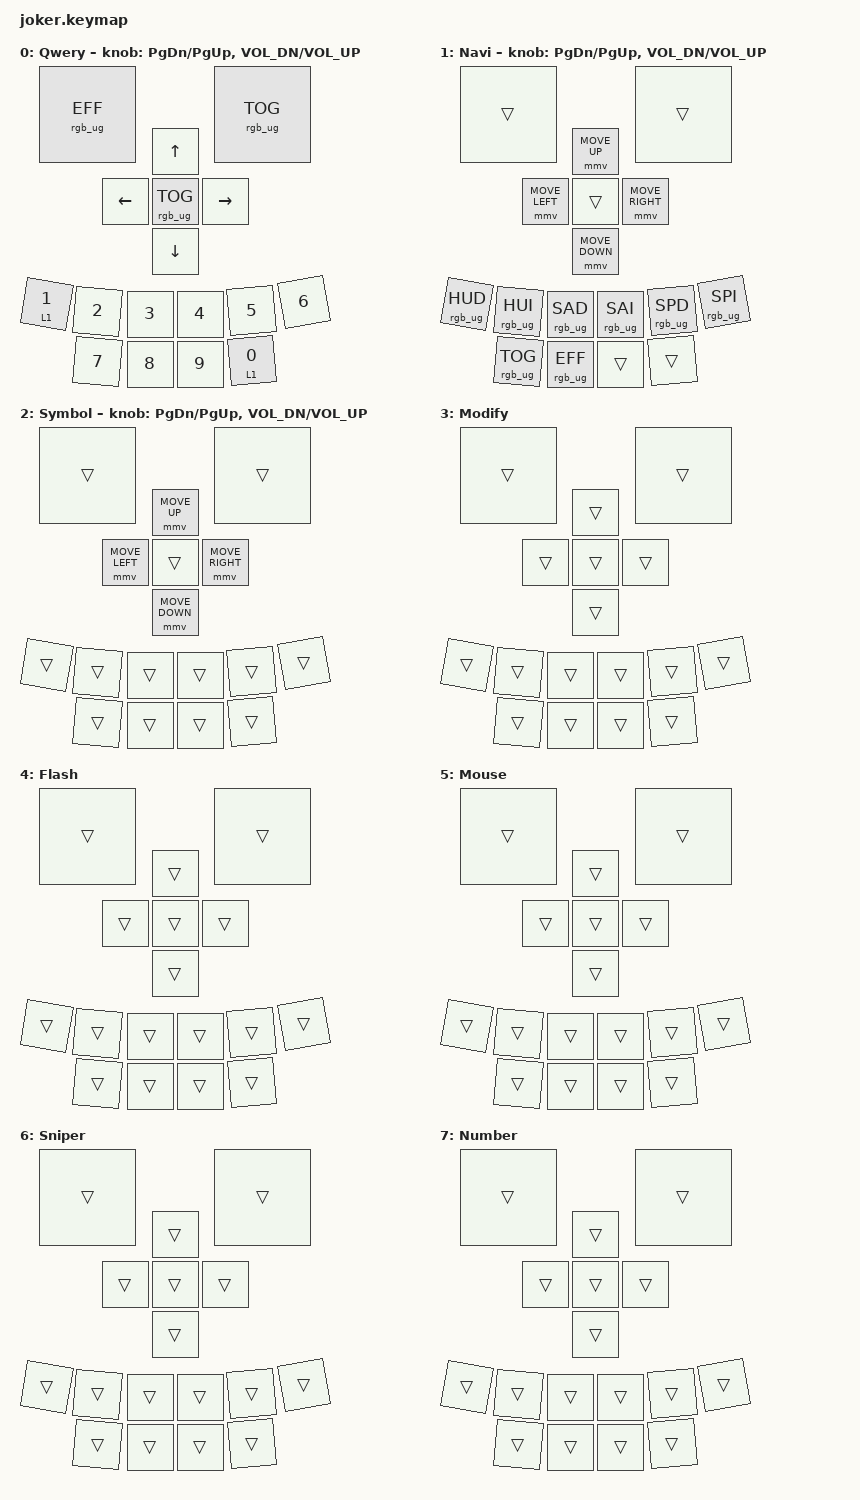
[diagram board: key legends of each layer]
#define ZMK_POINTING_DEFAULT_MOVE_VAL 1200  // 600
#define ZMK_POINTING_DEFAULT_SCRL_VAL 35    // 10

#include <input/processors.dtsi>
#include <zephyr/dt-bindings/input/input-event-codes.h>
#include <behaviors.dtsi>
#include <dt-bindings/zmk/keys.h>
#include <dt-bindings/zmk/pointing.h>
#include <dt-bindings/zmk/rgb.h>

#define SNIPER 6
#define MOUSE 5



&mmv_input_listener { input-processors = <&zip_xy_scaler 2 1>; };

&msc_input_listener { input-processors = <&zip_scroll_scaler 2 1>; };

&msc {
    acceleration-exponent = <1>;      // 0
    time-to-max-speed-ms = <100>;       // 300
    delay-ms = <0>;                   // 0
};

&mmv {
    time-to-max-speed-ms = <500>;
    acceleration-exponent = <1>;
    trigger-period-ms = <16>;
};

/ {
    zip_scroll_scaler: zip_scroll_scaler {
        compatible = "zmk,input-processor-scaler";
        #input-processor-cells = <2>;
        type = <INPUT_EV_REL>;
        codes = <INPUT_REL_WHEEL INPUT_REL_HWHEEL>;
        track-remainders;
    };
};

&mmv_input_listener { input-processors = <&zip_xy_scaler 2 1>; };

&msc_input_listener { input-processors = <&zip_scroll_scaler 2 1>; };

&msc {
    acceleration-exponent = <0>;      // 0
    time-to-max-speed-ms = <0>;       // 300
    delay-ms = <0>;                   // 0
};

&mmv {
    time-to-max-speed-ms = <400>;
    acceleration-exponent = <1>;
};

&trackball_listener {
    scroller {
        layers = <MOUSE>;
        input-processors =
            <&zip_xy_transform INPUT_TRANSFORM_Y_INVERT>,
            <&zip_xy_scaler 1 10>,
            <&zip_xy_to_scroll_mapper>;
    };

    snipe {
        layers = <SNIPER>;
        input-processors = <&zip_xy_scaler 1 3>;
    };
};

/ {
    combos {
        compatible = "zmk,combos";

        combo_esc {
            timeout-ms = <50>;
            key-positions = <0 1>;
            bindings = <&kp ESC>;
        };

        left_bkt {
            bindings = <&kp LEFT_BRACKET>;
            key-positions = <3 4>;
        };

        right_bkt {
            bindings = <&kp RIGHT_BRACKET>;
            key-positions = <7 8>;
        };

        left_brace {
            bindings = <&kp LEFT_BRACE>;
            key-positions = <26 27>;
        };

        right_brace {
            bindings = <&kp RIGHT_BRACE>;
            key-positions = <30 31>;
        };

        less_than {
            bindings = <&kp LEFT_PARENTHESIS>;
            key-positions = <15 16>;
        };

        great_than {
            bindings = <&kp RIGHT_PARENTHESIS>;
            key-positions = <19 20>;
        };

        pipe {
            bindings = <&kp PIPE>;
            key-positions = <5 6>;
        };

        back_slash {
            bindings = <&kp BACKSLASH>;
            key-positions = <17 18>;
        };
    };

    macros {
        dongle_bootload_macro: bootload_macro {
            compatible = "zmk,behavior-macro";
            #binding-cells = <0>;
            bindings = <&bootloader>;
            label = "BOOTLOAD_MACRO";
        };
    };

    behaviors {
        hm: homerow_mods {
            compatible = "zmk,behavior-hold-tap";
            label = "HOMEROW_MODS";
            bindings = <&kp>, <&kp>;

            #binding-cells = <2>;
            tapping-term-ms = <200>;
            quick-tap-ms = <180>;
            flavor = "tap-preferred";
        };

        ltq: ltq {
            compatible = "zmk,behavior-hold-tap";
            label = "LTQ";
            bindings = <&mo>, <&kp>;

            #binding-cells = <2>;
            tapping-term-ms = <200>;
            quick-tap-ms = <180>;
        };

        as: auto_shift {
            compatible = "zmk,behavior-hold-tap";
            label = "AUTO_SHIFT";
            bindings = <&kp>, <&kp>;

            #binding-cells = <2>;
            tapping-term-ms = <135>;
            quick-tap-ms = <0>;
        };

        scroll_encoder: scroll_encoder {
            compatible = "zmk,behavior-sensor-rotate";
            #sensor-binding-cells = <0>;
            bindings = <&msc SCRL_UP>, <&msc SCRL_DOWN>;

            tap-ms = <30>;
        };
    };

    keymap {
        compatible = "zmk,keymap";

        Qwery {
            bindings = <
&ltq 1 NUMBER_1     &kp NUMBER_2     &kp NUMBER_3  &kp NUMBER_8     &kp NUMBER_7
&kp NUMBER_4     &kp NUMBER_5     &kp NUMBER_6  &ltq 1 NUMBER_0  &kp NUMBER_9
&rgb_ug RGB_EFF  &rgb_ug RGB_TOG  &kp UP        &kp LEFT         &kp DOWN      &kp RIGHT  &rgb_ug RGB_TOG
            >;

            sensor-bindings =
                <&inc_dec_kp PAGE_DOWN PG_UP>,
                <&inc_dec_kp C_VOL_DN C_VOL_UP>;

            label = "Qwery";
        };

        Navi {
            bindings = <
&rgb_ug RGB_HUD  &rgb_ug RGB_HUI  &rgb_ug RGB_SAD  &rgb_ug RGB_EFF  &rgb_ug RGB_TOG
&rgb_ug RGB_SAI  &rgb_ug RGB_SPD  &rgb_ug RGB_SPI  &trans           &trans
&trans           &trans           &mmv MOVE_UP           &mmv MOVE_LEFT         &mmv MOVE_DOWN            &mmv MOVE_RIGHT  &trans
            >;

            sensor-bindings =
                <&inc_dec_kp PAGE_DOWN PG_UP>,
                <&inc_dec_kp C_VOL_DN C_VOL_UP>;

            label = "Navi";
        };

        Symbol {
            bindings = <
&trans  &trans  &trans  &trans  &trans
&trans  &trans  &trans  &trans  &trans
&trans           &trans           &mmv MOVE_UP           &mmv MOVE_LEFT         &mmv MOVE_DOWN            &mmv MOVE_RIGHT  &trans
            >;

            sensor-bindings =
                <&inc_dec_kp PAGE_DOWN PG_UP>,
                <&inc_dec_kp C_VOL_DN C_VOL_UP>;

            label = "Symbol";
        };

        Modify {
            bindings = <
&trans  &trans  &trans  &trans  &trans
&trans  &trans  &trans  &trans  &trans
&trans  &trans  &trans  &trans  &trans  &trans  &trans
            >;

            label = "Modify";
        };

        Flash {
            bindings = <
&trans  &trans  &trans  &trans  &trans
&trans  &trans  &trans  &trans  &trans
&trans  &trans  &trans  &trans  &trans  &trans  &trans
            >;

            label = "Flash";
        };

        Mouse {
            bindings = <
&trans  &trans  &trans  &trans  &trans
&trans  &trans  &trans  &trans  &trans
&trans  &trans  &trans  &trans  &trans  &trans  &trans
            >;

            label = "Mouse";
        };

        Sniper {
            bindings = <
&trans  &trans  &trans  &trans  &trans
&trans  &trans  &trans  &trans  &trans
&trans  &trans  &trans  &trans  &trans  &trans  &trans
            >;

            label = "Sniper";
        };

        Number {
            bindings = <
&trans  &trans  &trans  &trans  &trans
&trans  &trans  &trans  &trans  &trans
&trans  &trans  &trans  &trans  &trans  &trans  &trans
            >;

            label = "Number";
        };
    };

    conditional_layers {
        compatible = "zmk,conditional-layers";

        flash {
            if-layers = <2 3>;
            then-layer = <4>;
        };
    };
};
